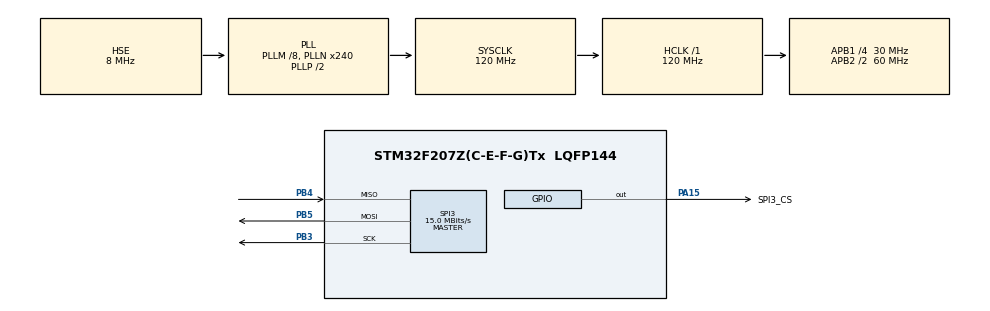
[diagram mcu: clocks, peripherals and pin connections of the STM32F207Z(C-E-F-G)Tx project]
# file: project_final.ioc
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Dma.Request0=SPI3_RX
Dma.Request1=SPI3_TX
Dma.SPI3_RX.0.Direction=DMA_PERIPH_TO_MEMORY
Dma.SPI3_RX.0.FIFOMode=DMA_FIFOMODE_DISABLE
Dma.SPI3_RX.0.Instance=DMA1_Stream0
Dma.SPI3_RX.0.MemDataAlignment=DMA_MDATAALIGN_BYTE
Dma.SPI3_RX.0.MemInc=DMA_MINC_ENABLE
Dma.SPI3_RX.0.Mode=DMA_NORMAL
Dma.SPI3_RX.0.PeriphDataAlignment=DMA_PDATAALIGN_BYTE
Dma.SPI3_RX.0.PeriphInc=DMA_PINC_DISABLE
Dma.SPI3_RX.0.Priority=DMA_PRIORITY_LOW
Dma.SPI3_TX.1.Direction=DMA_MEMORY_TO_PERIPH
Dma.SPI3_TX.1.FIFOMode=DMA_FIFOMODE_DISABLE
Dma.SPI3_TX.1.Instance=DMA1_Stream5
Dma.SPI3_TX.1.MemDataAlignment=DMA_MDATAALIGN_BYTE
Dma.SPI3_TX.1.MemInc=DMA_MINC_ENABLE
Dma.SPI3_TX.1.Mode=DMA_NORMAL
Dma.SPI3_TX.1.PeriphDataAlignment=DMA_PDATAALIGN_BYTE
Dma.SPI3_TX.1.PeriphInc=DMA_PINC_DISABLE
Dma.SPI3_TX.1.Priority=DMA_PRIORITY_LOW
FATFS._MAX_SS=4096
FATFS._USE_LABEL=1
FATFS._USE_LFN=2
Mcu.Family=STM32F2
Mcu.Name=STM32F207Z(C-E-F-G)Tx
Mcu.Package=LQFP144
NVIC.DMA1_Stream0_IRQn=true\:0\:0\:false\:false\:true\:false\:true\:true
NVIC.DMA1_Stream5_IRQn=true\:0\:0\:false\:false\:true\:false\:true\:true
NVIC.PriorityGroup=NVIC_PRIORITYGROUP_4
NVIC.SPI3_IRQn=true\:0\:0\:false\:false\:true\:true\:true\:true
NVIC.TIM2_IRQn=true\:15\:0\:false\:false\:true\:false\:true\:true
NVIC.TimeBase=TIM2_IRQn
NVIC.TimeBaseIP=TIM2
PA13.Mode=Serial_Wire
PA13.Signal=SYS_JTMS-SWDIO
PA14.Mode=Serial_Wire
PA14.Signal=SYS_JTCK-SWCLK
PA15.GPIO_Label=SPI3_CS
PA15.Signal=GPIO_Output
PB3.Mode=Full_Duplex_Master
PB3.Signal=SPI3_SCK
PB4.Mode=Full_Duplex_Master
PB4.Signal=SPI3_MISO
PB5.Mode=Full_Duplex_Master
PB5.Signal=SPI3_MOSI
PH0-OSC_IN.Mode=HSE-External-Oscillator
PH0-OSC_IN.Signal=RCC_OSC_IN
PH1-OSC_OUT.Mode=HSE-External-Oscillator
PH1-OSC_OUT.Signal=RCC_OSC_OUT
ProjectManager.HeapSize=0x200
ProjectManager.StackSize=0x400
ProjectManager.TargetToolchain=STM32CubeIDE
RCC.48MHZClocksFreq_Value=60000000
RCC.AHBFreq_Value=120000000
RCC.APB1CLKDivider=RCC_HCLK_DIV4
RCC.APB1Freq_Value=30000000
RCC.APB1TimFreq_Value=60000000
RCC.APB2CLKDivider=RCC_HCLK_DIV2
RCC.APB2Freq_Value=60000000
RCC.APB2TimFreq_Value=120000000
RCC.CortexFreq_Value=120000000
RCC.HCLKFreq_Value=120000000
RCC.HSE_VALUE=8000000
RCC.HSI_VALUE=16000000
RCC.LSE_VALUE=32768
RCC.PLLM=8
RCC.PLLN=240
RCC.PLLSourceVirtual=RCC_PLLSOURCE_HSE
RCC.SYSCLKFreq_VALUE=120000000
RCC.SYSCLKSource=RCC_SYSCLKSOURCE_PLLCLK
RCC.VCOOutputFreq_Value=240000000
SPI3.CalculateBaudRate=15.0 MBits/s
SPI3.Direction=SPI_DIRECTION_2LINES
SPI3.Mode=SPI_MODE_MASTER
SPI3.VirtualType=VM_MASTER
VP_CRC_VS_CRC.Mode=CRC_Activate
VP_FATFS_VS_Generic.Mode=User_defined
VP_SYS_VS_tim2.Mode=TIM2
board=custom

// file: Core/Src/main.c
/* USER CODE BEGIN Header */
/**
  ******************************************************************************
  * @file           : main.c
  * @brief          : Main program body
  ******************************************************************************
  * @attention
  *
  * Copyright (c) 2022 STMicroelectronics.
  * All rights reserved.
  *
  * This software is licensed under terms that can be found in the LICENSE file
  * in the root directory of this software component.
  * If no LICENSE file comes with this software, it is provided AS-IS.
  *
  ******************************************************************************
  */
/* USER CODE END Header */
#include "main.h"
#include "crc.h"
#include "dma.h"
#include "fatfs.h"
#include "spi.h"
#include "gpio.h"

/* USER CODE BEGIN Includes */
#include "flash.h"
#include <stdbool.h>
#include <string.h>
#include "app_debug.h"
#include "Segger_RTT.h"
/* USER CODE END Includes */

/* USER CODE BEGIN PTD */
typedef union
{
    struct
    {
        char header[3];
        char firmware_version[3];
        char hardware_version[3];
        uint32_t firmware_size;         // fw size =  image_size + 16 byte md5, fw excluded header
        uint8_t release_year;           // From 2000
        uint8_t release_month;
        uint8_t release_date;
    } __attribute__((packed)) name;
    uint8_t raw[16];
} __attribute__((packed)) ota_image_header_t;
/* USER CODE END PTD */

/* USER CODE BEGIN PD */
#define APP_TEST_ADDR 0x08010000 //sector 6

/* USER CODE END PD */

/* USER CODE BEGIN PV */
uint32_t check_update_value;
static const char *jig_test_update_file = "jig_update.bin";
static const char *version_info_file = "current_version.txt";
/*
 * {test:001,
 *  load:001
 * }
 * */
//ota_image_header_t update_info;
ota_image_header_t* update_info_ptr;
uint8_t info_buff[16];
ota_image_header_t* current_info_ptr;
char version_info_buff[64];

/*************************** 	  FLASH DISK VARIABLE        *************************************************************/
BYTE gFSWork[_MAX_SS];
UINT br, bw;   // File read/write count
UINT fbr, fbw; // File read/write count
FRESULT flash_res;
bool m_disk_is_mounted = false;
uint8_t update_data [4096];
uint8_t sector_to_erase = 0;
/***********************************************************************************************************************/
/* USER CODE END PV */

void SystemClock_Config(void);
/* USER CODE BEGIN PFP */
uint32_t sys_get_ms(void);
//bool lock_debug(bool lock, uint32_t timeout_ms);
uint32_t rtt_tx(const void *buffer, uint32_t size);
/* USER CODE END PFP */

/* USER CODE BEGIN 0 */
typedef void (*jump_func)(void);
jump_func jump_to_app;
void update_firmware (uint32_t addr_to_update, const char* update_file);

/* USER CODE END 0 */

int main(void)
{

  /* MCU Configuration--------------------------------------------------------*/

  /* Reset of all peripherals, Initializes the Flash interface and the Systick. */
  HAL_Init();

  /* Configure the system clock */
  SystemClock_Config();

  /* Initialize all configured peripherals */
  MX_GPIO_Init();
  MX_DMA_Init();
  MX_CRC_Init();
  MX_SPI3_Init();
  MX_FATFS_Init();
  /* USER CODE BEGIN 2 */
  //init debug app
  app_debug_init(sys_get_ms, NULL);
  app_debug_register_callback_print(rtt_tx);
	/// mount flash to use fs
	flash_res = f_mount(&USERFatFS, USERPath, 1);
	if (flash_res != FR_OK)
	{
		DEBUG_WARN("Mount flash fail\r\n");
		flash_res = f_mkfs(USERPath, 0, sizeof(gFSWork));
//		flash_res = f_mount(&USERFatFS, USERPath, 1);
		if (flash_res == FR_OK)
		{
			m_disk_is_mounted = true;
			DEBUG_INFO("format disk and mount again\r\n");
		}
		else
		{
			DEBUG_ERROR("Mount flash error\r\n");
		}
	}
	else
	{
		m_disk_is_mounted = true;
		DEBUG_INFO("Mount flash ok\r\n");
	}
	if ((fatfs_is_file_or_folder_existed (jig_test_update_file) == FILE_EXISTED)
		&& m_disk_is_mounted)
	{
	  update_firmware (APP_TEST_ADDR, jig_test_update_file);
	  flash_res = f_mount(NULL, USERPath, 1);//unmount before go to app
	  HAL_RCC_DeInit();
	  SysTick->CTRL = 0;
	  SysTick->LOAD = 0;
	  SysTick->VAL = 0;
	  SYSCFG->MEMRMP = 0x01; //choose the flash memory
	  HAL_DeInit();
	  SCB->SHCSR &= ~( SCB_SHCSR_USGFAULTENA_Msk |\
	  SCB_SHCSR_BUSFAULTENA_Msk | \
	  SCB_SHCSR_MEMFAULTENA_Msk ) ;
	  __disable_irq();
	  jump_to_app = (jump_func)(*(volatile unsigned int *)(APP_TEST_ADDR + 4));
	  __set_MSP(*(volatile unsigned int*)APP_TEST_ADDR);
	  jump_to_app();
	  while (1);
	}
	else
	{
	  if (m_disk_is_mounted)
	  {
		  flash_res = f_mount(NULL, USERPath, 1);//unmount before go to app
	  }
	  HAL_RCC_DeInit();
	  SysTick->CTRL = 0;
	  SysTick->LOAD = 0;
	  SysTick->VAL = 0;
	  SYSCFG->MEMRMP = 0x01; //choose the flash memory
	  HAL_DeInit();
	  SCB->SHCSR &= ~( SCB_SHCSR_USGFAULTENA_Msk |\
	  SCB_SHCSR_BUSFAULTENA_Msk | \
	  SCB_SHCSR_MEMFAULTENA_Msk ) ;
	  __disable_irq();
	  jump_to_app = (jump_func)(*(volatile unsigned int *)(APP_TEST_ADDR + 4));
	  __set_MSP(*(volatile unsigned int*)APP_TEST_ADDR);
	  jump_to_app();
	  while (1);
	}
  /* USER CODE END 2 */

  /* Infinite loop */
  while (1)
  {

  }
}

void SystemClock_Config(void)
{
  RCC_OscInitTypeDef RCC_OscInitStruct = {0};
  RCC_ClkInitTypeDef RCC_ClkInitStruct = {0};

  /** Initializes the RCC Oscillators according to the specified parameters
  * in the RCC_OscInitTypeDef structure.
  */
  RCC_OscInitStruct.OscillatorType = RCC_OSCILLATORTYPE_HSE;
  RCC_OscInitStruct.HSEState = RCC_HSE_ON;
  RCC_OscInitStruct.PLL.PLLState = RCC_PLL_ON;
  RCC_OscInitStruct.PLL.PLLSource = RCC_PLLSOURCE_HSE;
  RCC_OscInitStruct.PLL.PLLM = 8;
  RCC_OscInitStruct.PLL.PLLN = 240;
  RCC_OscInitStruct.PLL.PLLP = RCC_PLLP_DIV2;
  RCC_OscInitStruct.PLL.PLLQ = 4;
  if (HAL_RCC_OscConfig(&RCC_OscInitStruct) != HAL_OK)
  {
    Error_Handler();
  }

  /** Initializes the CPU, AHB and APB buses clocks
  */
  RCC_ClkInitStruct.ClockType = RCC_CLOCKTYPE_HCLK|RCC_CLOCKTYPE_SYSCLK
                              |RCC_CLOCKTYPE_PCLK1|RCC_CLOCKTYPE_PCLK2;
  RCC_ClkInitStruct.SYSCLKSource = RCC_SYSCLKSOURCE_PLLCLK;
  RCC_ClkInitStruct.AHBCLKDivider = RCC_SYSCLK_DIV1;
  RCC_ClkInitStruct.APB1CLKDivider = RCC_HCLK_DIV4;
  RCC_ClkInitStruct.APB2CLKDivider = RCC_HCLK_DIV2;

  if (HAL_RCC_ClockConfig(&RCC_ClkInitStruct, FLASH_LATENCY_3) != HAL_OK)
  {
    Error_Handler();
  }
}

/* USER CODE BEGIN 4 */
void update_firmware (uint32_t addr_to_update, const char* update_file)
{

	if (fatfs_read_file (update_file, info_buff, 16))
	{
		update_info_ptr = (ota_image_header_t*) info_buff;
	}
	DEBUG_INFO ("UPDATE: %.*s\r\n", 3, update_info_ptr->name.header);
	DEBUG_INFO ("Hardware version: %.*s\r\n", 3, update_info_ptr->name.hardware_version);
	DEBUG_INFO ("Firmware version: %.*s\r\n", 3, update_info_ptr->name.firmware_version);
	if (fatfs_read_file (version_info_file, (uint8_t *)version_info_buff, 16) != 0)
	{
		DEBUG_INFO ("ERROR NOT FOUND VERSION INFO \r\n");
	}
	else
	{
		char * ptr = strstr (version_info_buff, "test:");
		if (memcmp (ptr, update_info_ptr->name.firmware_version, 3) == 0)
		{
			DEBUG_INFO ("VERSION STILL THE SAME \r\n");
			return;
		}
		else
		{
			char version_buff[3];
			memcpy (version_buff, update_info_ptr->name.firmware_version, 3);
			fatfs_write_to_a_file_at_pos (version_info_file, version_buff, 3, strlen ("test:"));//write new version
		}
	}
	uint32_t byte_wrote = 0;
	uint32_t size_of_update_file = fatfs_get_file_size (update_file);
	uint32_t size_of_firmware = size_of_update_file - 16 - 4;
	uint32_t crc_value_read;
	uint32_t crc_calculate = 0;

	fatfs_read_file_at_pos (update_file, (uint8_t*) &crc_value_read, 4, size_of_update_file - 4);
	// skip 16byte dau va 4 byte sum crc
	sector_to_erase = (GetSector (addr_to_update + size_of_firmware) - GetSector(addr_to_update)); //sectors to erase at app addr
	sector_to_erase += 1;
	Flash_Erase (addr_to_update, sector_to_erase); //Erase before write
	while (byte_wrote < size_of_firmware)
	{
//		Flash_Read_Array_32bit (word_temp, OTA_ADDR + word_wrote * 4, 1024);
		memset (update_data, 255, sizeof (update_data));
		uint32_t byte_read = fatfs_read_file_at_pos (update_file, update_data, sizeof (update_data), 16 + byte_wrote);
		if (byte_read < sizeof (update_data))
		{
			//when reach this, it's end of file skip 4 byte crc
			if (Flash_Write_Array_32bit ((uint32_t*)update_data, addr_to_update + byte_wrote, (byte_read - 4) / 4) != 1)
			{
				Error_Handler();
			}
			for (uint32_t i = 0; i < (byte_read - 4); i++)
			{
				crc_calculate += update_data [i];
			}
			DEBUG_INFO ("UPDATE DONE, CHECKING CRC\r\n");
			HAL_Delay (1000);
			break;
		}

		if (Flash_Write_Array_32bit ((uint32_t*)update_data, addr_to_update + byte_wrote, byte_read / 4) != 1)
		{
			Error_Handler();
		}
		for (uint32_t i = 0; i < byte_read; i++)
		{
			crc_calculate += update_data [i];
		}
		byte_wrote += byte_read;
		DEBUG_INFO ("UPDATE : %lu / %lu byte\r\n", byte_wrote, size_of_firmware);
	}
	if (crc_calculate != crc_value_read)
	{
		DEBUG_ERROR ("wrong crc\r\n");
		NVIC_SystemReset();
	}
	else
	{
		DEBUG_INFO ("CRC OK, PREPRARE JUMP INTO APP\r\n");
	}
	fatfs_delete_a_file (update_file); //delete file after update
}

uint32_t sys_get_ms(void)
{
    return HAL_GetTick();
}

uint32_t rtt_tx(const void *buffer, uint32_t size)
{
    return SEGGER_RTT_Write(0, buffer, size);
}
/* USER CODE END 4 */

void HAL_TIM_PeriodElapsedCallback(TIM_HandleTypeDef *htim)
{
  if (htim->Instance == TIM2) {
    HAL_IncTick();
  }
}

void Error_Handler(void)
{
  /* USER CODE BEGIN Error_Handler_Debug */
  /* User can add his own implementation to report the HAL error return state */
	NVIC_SystemReset ();
  __disable_irq();
  while (1)
  {

  }
  /* USER CODE END Error_Handler_Debug */
}
